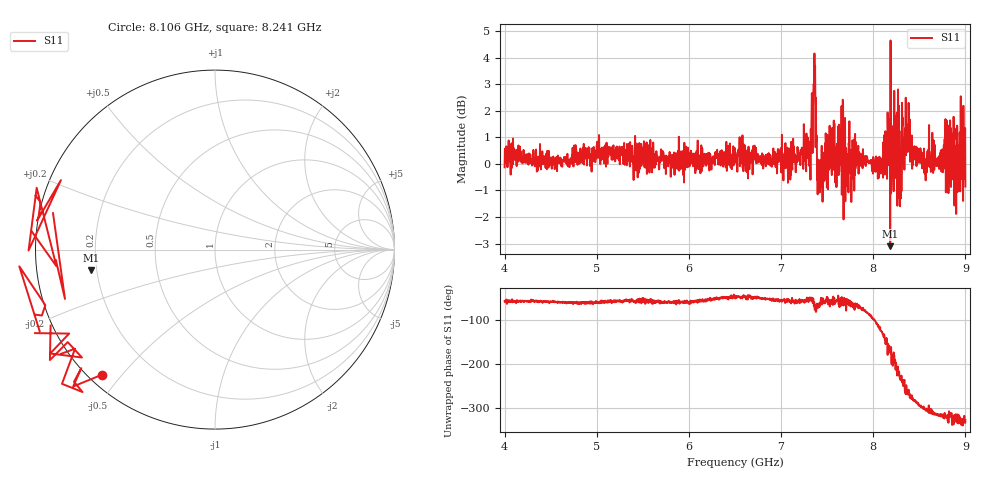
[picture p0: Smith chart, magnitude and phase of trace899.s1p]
! Created with skrf 1.8.0 (http://scikit-rf.org).
# Hz S RI R 50.0
!freq ReS11 ImS11
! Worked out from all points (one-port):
!   1601 points, 4 GHz to 9 GHz, reference 50 ohm
!   lowest |S11| = -3.1 dB at 8.184 GHz (marker M1), VSWR 5.67, Z = 8.88 - j4.02 ohm
!   |S11| at or under -10 dB: nowhere
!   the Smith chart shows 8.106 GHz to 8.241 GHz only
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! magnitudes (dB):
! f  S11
! 4 GHz  -0.1
! 4.625 GHz  -0.1
! 5.25 GHz  0.0
! 5.875 GHz  0.0
! 6.5 GHz  0.4
! 7.125 GHz  0.5
! 7.294 GHz  0.2
! 7.353 GHz  3.0
! 7.369 GHz  3.7
! 7.412 GHz  -0.2
! 7.438 GHz  -0.4
! 7.509 GHz  -1.0
! 7.606 GHz  0.8
! 7.647 GHz  1.3
! 7.703 GHz  -0.3
! 7.75 GHz  0.2
! 8.066 GHz  0.3
! 8.184 GHz  -3.1
! 8.216 GHz  0.3
! 8.253 GHz  -0.2
! 8.312 GHz  2.3
! 8.338 GHz  -0.2
! 8.375 GHz  0.7
! 8.556 GHz  -0.3
! 8.85 GHz  -0.4
! 8.875 GHz  0.7
! 8.956 GHz  -0.5
! 9 GHz  -0.9
